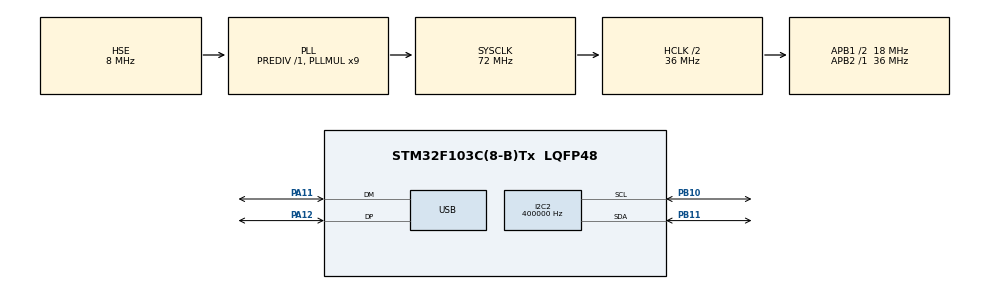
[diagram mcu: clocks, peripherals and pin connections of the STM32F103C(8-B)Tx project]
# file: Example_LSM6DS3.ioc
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I2C2.ClockSpeed=400000
I2C2.I2C_Mode=I2C_Fast
Mcu.Family=STM32F1
Mcu.Name=STM32F103C(8-B)Tx
Mcu.Package=LQFP48
NVIC.PriorityGroup=NVIC_PRIORITYGROUP_4
NVIC.TIM2_IRQn=true\:0\:0\:false\:false\:true\:true\:true
NVIC.USB_LP_CAN1_RX0_IRQn=true\:0\:0\:false\:false\:true\:false\:true
PA11.Mode=Device
PA11.Signal=USB_DM
PA12.Mode=Device
PA12.Signal=USB_DP
PA13.Mode=Serial_Wire
PA13.Signal=SYS_JTMS-SWDIO
PA14.Mode=Serial_Wire
PA14.Signal=SYS_JTCK-SWCLK
PB10.Mode=I2C
PB10.Signal=I2C2_SCL
PB11.Mode=I2C
PB11.Signal=I2C2_SDA
PD0-OSC_IN.Mode=HSE-External-Oscillator
PD0-OSC_IN.Signal=RCC_OSC_IN
PD1-OSC_OUT.Mode=HSE-External-Oscillator
PD1-OSC_OUT.Signal=RCC_OSC_OUT
ProjectManager.HeapSize=0x200
ProjectManager.StackSize=0x400
ProjectManager.TargetToolchain=STM32CubeIDE
RCC.AHBCLKDivider=RCC_SYSCLK_DIV2
RCC.AHBFreq_Value=36000000
RCC.APB1CLKDivider=RCC_HCLK_DIV2
RCC.APB1Freq_Value=18000000
RCC.APB1TimFreq_Value=36000000
RCC.APB2Freq_Value=36000000
RCC.APB2TimFreq_Value=36000000
RCC.HCLKFreq_Value=36000000
RCC.PLLMUL=RCC_PLL_MUL9
RCC.PLLSourceVirtual=RCC_PLLSOURCE_HSE
RCC.SYSCLKFreq_VALUE=72000000
RCC.SYSCLKSource=RCC_SYSCLKSOURCE_PLLCLK
RCC.USBFreq_Value=48000000
RCC.USBPrescaler=RCC_USBCLKSOURCE_PLL_DIV1_5
TIM2.Period=36-1
TIM2.Prescaler=100-1
USB_DEVICE.CLASS_NAME_FS=CDC
USB_DEVICE.VirtualMode=Cdc
USB_DEVICE.VirtualModeFS=Cdc_FS
VP_TIM2_VS_ClockSourceINT.Mode=Internal
VP_USB_DEVICE_VS_USB_DEVICE_CDC_FS.Mode=CDC_FS
board=custom

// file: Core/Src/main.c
/* USER CODE BEGIN Header */
/**
  ******************************************************************************
  * @file           : main.c
  * @brief          : Main program body
  ******************************************************************************
  * @attention
  *
  * <h2><center>&copy; Copyright (c) 2020 STMicroelectronics.
  * All rights reserved.</center></h2>
  *
  * This software component is licensed by ST under BSD 3-Clause license,
  * the "License"; You may not use this file except in compliance with the
  * License. You may obtain a copy of the License at:
  *                        opensource.org/licenses/BSD-3-Clause
  *
  ******************************************************************************
  */
/* USER CODE END Header */

#include "main.h"
#include "usb_device.h"

/* USER CODE BEGIN Includes */
#include <stdio.h>
#include "LSM6DS3.h"
#include "KalmanFilter.h"
/* USER CODE END Includes */

I2C_HandleTypeDef hi2c2;

TIM_HandleTypeDef htim2;

void SystemClock_Config(void);
static void MX_GPIO_Init(void);
static void MX_I2C2_Init(void);
static void MX_TIM2_Init(void);

/* USER CODE BEGIN 0 */
static uint8_t counter_print = 0;
/* USER CODE END 0 */

int main(void)
{

  /* MCU Configuration--------------------------------------------------------*/

  /* Reset of all peripherals, Initializes the Flash interface and the Systick. */
  HAL_Init();

  /* USER CODE BEGIN Init */
  MX_I2C2_Init();
  /* USER CODE END Init */

  /* Configure the system clock */
  SystemClock_Config();

  /* Initialize all configured peripherals */
  MX_GPIO_Init();
  /* MX_I2C2_Init(); */
  MX_USB_DEVICE_Init();
  MX_TIM2_Init();
  /* USER CODE BEGIN 2 */
  HAL_TIM_Base_Start_IT(&htim2);
  LSM6DS3_Initialize(LSM6DS3_SA0_LOW_LEVEL, LSM6DS3_DEFAULT_TIMEOUT, &hi2c2);
  if(LSM6DS3_Detect(10) == LSM6DS3_OK) {
	  LSM6DS3_XL_Start(XL_1666Hz, XL_RANGE_16G, XL_FILTER_400Hz);
	  LSM6DS3_GS_Start(GS_1666Hz, GS_RANGE_2000dps);
	  HAL_Delay(100);
  }
  else
  {
	  /* Handle the error */
  }
  /* USER CODE END 2 */

  /* Infinite loop */
  /* USER CODE BEGIN WHILE */

  /* Execute KalmanFilter every 10 ticks with frequency of 10kHz
   * For this example, Timer2 is used as timing source for KalmanFilter
  */
  Start_Kalman_Algorithm(10, 10000.0f);
  while (1)
  {
    /* USER CODE END WHILE */

    /* USER CODE BEGIN 3 */
	if(Kalman_GetFlag()) {  /* Time to execute the KalmanFilter? */
		if(LSM6DS3_IMU_GetMeasurements() == LSM6DS3_OK) {
			Execute_Kalman_Filter();
		#ifdef PROCESING_TEST
			if(counter_print++ >= 50) {
				printf("%0.2f/%0.2f\r\n", Kalman_GetRoll() ,Kalman_GetPitch());
				counter_print=0;
			}
		#else
			if(counter_print++ >= 250) {
				printf("Roll = %0.3f & Pitch = %0.1f & Temperature = %0.1f\r\n", Kalman_GetRoll() ,Kalman_GetPitch(), LSM6DS3_Temperature_Celsius());
				counter_print=0;
			}
		#endif
		}
		Kalman_ClearFlag();
	}
  }
  /* USER CODE END 3 */
}

void SystemClock_Config(void)
{
  RCC_OscInitTypeDef RCC_OscInitStruct = {0};
  RCC_ClkInitTypeDef RCC_ClkInitStruct = {0};
  RCC_PeriphCLKInitTypeDef PeriphClkInit = {0};

  /** Initializes the CPU, AHB and APB busses clocks
  */
  RCC_OscInitStruct.OscillatorType = RCC_OSCILLATORTYPE_HSE;
  RCC_OscInitStruct.HSEState = RCC_HSE_ON;
  RCC_OscInitStruct.HSEPredivValue = RCC_HSE_PREDIV_DIV1;
  RCC_OscInitStruct.HSIState = RCC_HSI_ON;
  RCC_OscInitStruct.PLL.PLLState = RCC_PLL_ON;
  RCC_OscInitStruct.PLL.PLLSource = RCC_PLLSOURCE_HSE;
  RCC_OscInitStruct.PLL.PLLMUL = RCC_PLL_MUL9;
  if (HAL_RCC_OscConfig(&RCC_OscInitStruct) != HAL_OK)
  {
    Error_Handler();
  }
  /** Initializes the CPU, AHB and APB busses clocks
  */
  RCC_ClkInitStruct.ClockType = RCC_CLOCKTYPE_HCLK|RCC_CLOCKTYPE_SYSCLK
                              |RCC_CLOCKTYPE_PCLK1|RCC_CLOCKTYPE_PCLK2;
  RCC_ClkInitStruct.SYSCLKSource = RCC_SYSCLKSOURCE_PLLCLK;
  RCC_ClkInitStruct.AHBCLKDivider = RCC_SYSCLK_DIV2;
  RCC_ClkInitStruct.APB1CLKDivider = RCC_HCLK_DIV2;
  RCC_ClkInitStruct.APB2CLKDivider = RCC_HCLK_DIV1;

  if (HAL_RCC_ClockConfig(&RCC_ClkInitStruct, FLASH_LATENCY_2) != HAL_OK)
  {
    Error_Handler();
  }
  PeriphClkInit.PeriphClockSelection = RCC_PERIPHCLK_USB;
  PeriphClkInit.UsbClockSelection = RCC_USBCLKSOURCE_PLL_DIV1_5;
  if (HAL_RCCEx_PeriphCLKConfig(&PeriphClkInit) != HAL_OK)
  {
    Error_Handler();
  }
}

static void MX_I2C2_Init(void)
{

  hi2c2.Instance = I2C2;
  hi2c2.Init.ClockSpeed = 400000;
  hi2c2.Init.DutyCycle = I2C_DUTYCYCLE_2;
  hi2c2.Init.OwnAddress1 = 0;
  hi2c2.Init.AddressingMode = I2C_ADDRESSINGMODE_7BIT;
  hi2c2.Init.DualAddressMode = I2C_DUALADDRESS_DISABLE;
  hi2c2.Init.OwnAddress2 = 0;
  hi2c2.Init.GeneralCallMode = I2C_GENERALCALL_DISABLE;
  hi2c2.Init.NoStretchMode = I2C_NOSTRETCH_DISABLE;
  if (HAL_I2C_Init(&hi2c2) != HAL_OK)
  {
    Error_Handler();
  }

}

static void MX_TIM2_Init(void)
{

  TIM_ClockConfigTypeDef sClockSourceConfig = {0};
  TIM_MasterConfigTypeDef sMasterConfig = {0};

  htim2.Instance = TIM2;
  htim2.Init.Prescaler = 100-1;
  htim2.Init.CounterMode = TIM_COUNTERMODE_UP;
  htim2.Init.Period = 36-1;
  htim2.Init.ClockDivision = TIM_CLOCKDIVISION_DIV1;
  htim2.Init.AutoReloadPreload = TIM_AUTORELOAD_PRELOAD_DISABLE;
  if (HAL_TIM_Base_Init(&htim2) != HAL_OK)
  {
    Error_Handler();
  }
  sClockSourceConfig.ClockSource = TIM_CLOCKSOURCE_INTERNAL;
  if (HAL_TIM_ConfigClockSource(&htim2, &sClockSourceConfig) != HAL_OK)
  {
    Error_Handler();
  }
  sMasterConfig.MasterOutputTrigger = TIM_TRGO_RESET;
  sMasterConfig.MasterSlaveMode = TIM_MASTERSLAVEMODE_DISABLE;
  if (HAL_TIMEx_MasterConfigSynchronization(&htim2, &sMasterConfig) != HAL_OK)
  {
    Error_Handler();
  }

}

static void MX_GPIO_Init(void)
{

  /* GPIO Ports Clock Enable */
  __HAL_RCC_GPIOD_CLK_ENABLE();
  __HAL_RCC_GPIOB_CLK_ENABLE();
  __HAL_RCC_GPIOA_CLK_ENABLE();

}

/* USER CODE BEGIN 4 */
int _write(int file,char *ptr, int len) {
  CDC_Transmit_FS(ptr,len);
  return len;
}
/* USER CODE END 4 */

void Error_Handler(void)
{
}

/************************ (C) COPYRIGHT STMicroelectronics *****END OF FILE****/
